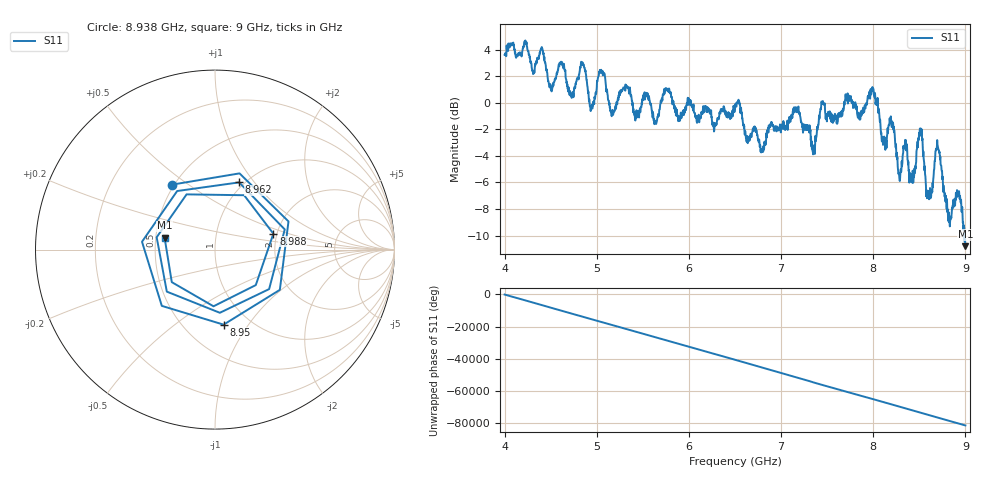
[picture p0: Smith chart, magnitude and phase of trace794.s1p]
! Created with skrf 1.8.0 (http://scikit-rf.org).
# Hz S RI R 50.0
!freq ReS11 ImS11
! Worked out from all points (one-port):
!   1601 points, 4 GHz to 9 GHz, reference 50 ohm
!   lowest |S11| = -10.8 dB at 9 GHz (marker M1), VSWR 1.81, Z = 27.9 + j4.02 ohm
!   |S11| at or under -10 dB: 8.989703 GHz to end of sweep
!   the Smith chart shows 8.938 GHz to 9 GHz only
!   S11 on the Smith chart (normalised r, x): 8.938 GHz: 0.48, +0.43; 8.95 GHz: 0.76, -0.77; 8.962 GHz: 0.95, +0.84; 8.988 GHz: 1.91, +0.38; 9 GHz: 0.56, +0.08
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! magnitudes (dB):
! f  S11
! 4 GHz  3.6
! 4.625 GHz  3.0
! 4.725 GHz  0.5
! 4.853 GHz  2.8
! 4.941 GHz  -0.3
! 5.05 GHz  2.4
! 5.166 GHz  -0.8
! 5.25 GHz  0.6
! 5.875 GHz  -1.0
! 6.5 GHz  -0.5
! 6.791 GHz  -3.6
! 7.125 GHz  -0.8
! 7.353 GHz  -3.6
! 7.45 GHz  0.0
! 7.75 GHz  0.4
! 7.997 GHz  0.9
! 8.112 GHz  -3.1
! 8.375 GHz  -4.3
! 8.428 GHz  -5.1
! 8.512 GHz  -1.9
! 8.597 GHz  -6.6
! 8.697 GHz  -3.1
! 8.822 GHz  -8.7
! 8.938 GHz  -7.2
! 8.95 GHz  -7.5
! 8.962 GHz  -8.0
! 8.988 GHz  -9.4
! 9 GHz  -10.8
